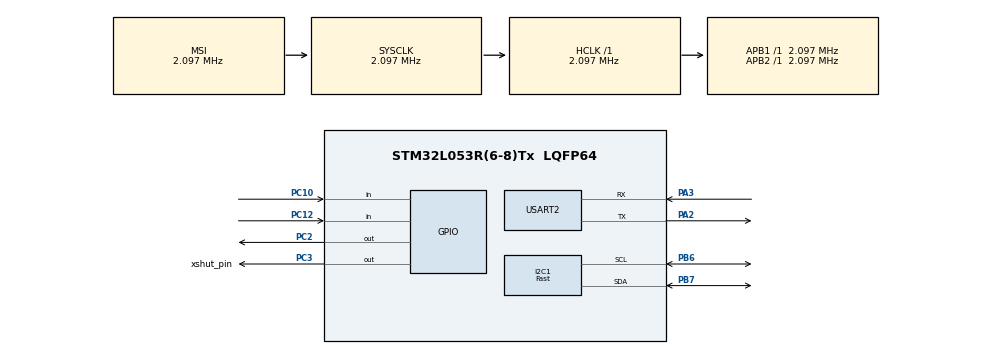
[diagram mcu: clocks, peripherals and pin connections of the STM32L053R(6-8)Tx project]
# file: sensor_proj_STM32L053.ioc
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I2C1.I2C_Speed_Mode=I2C_Fast
I2C1.Timing=0x00000000
Mcu.Family=STM32L0
Mcu.Name=STM32L053R(6-8)Tx
Mcu.Package=LQFP64
PA13.Mode=Serial_Wire
PA13.Signal=SYS_SWDIO
PA14.Mode=Serial_Wire
PA14.Signal=SYS_SWCLK
PA2.Mode=Asynchronous
PA2.Signal=USART2_TX
PA3.Mode=Asynchronous
PA3.Signal=USART2_RX
PB6.Mode=I2C
PB6.Signal=I2C1_SCL
PB7.Mode=I2C
PB7.Signal=I2C1_SDA
PC10.Signal=GPIO_Input
PC12.Signal=GPIO_Input
PC2.Signal=GPIO_Output
PC3.GPIO_Label=xshut_pin
PC3.Signal=GPIO_Output
ProjectManager.HeapSize=0x200
ProjectManager.StackSize=0x400
ProjectManager.TargetToolchain=MDK-ARM V5
RCC.AHBFreq_Value=2097000
RCC.APB1Freq_Value=2097000
RCC.APB1TimFreq_Value=2097000
RCC.APB2Freq_Value=2097000
RCC.APB2TimFreq_Value=2097000
RCC.HSE_VALUE=8000000
RCC.HSI16_VALUE=16000000
RCC.HSI48_VALUE=48000000
RCC.HSI_VALUE=16000000
RCC.LSE_VALUE=32768
RCC.MSI_VALUE=2097000
RCC.SYSCLKFreq_VALUE=2097000
RCC.VCOOutputFreq_Value=48000000
USART2.VirtualMode-Asynchronous=VM_ASYNC
board=custom

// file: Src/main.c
/* USER CODE BEGIN Header */
/**
  ******************************************************************************
  * @file           : main.c
  * @brief          : Main program body
  ******************************************************************************
  ** This notice applies to any and all portions of this file
  * that are not between comment pairs USER CODE BEGIN and
  * USER CODE END. Other portions of this file, whether
  * inserted by the user or by software development tools
  * are owned by their respective copyright owners.
  *
  * COPYRIGHT(c) 2019 STMicroelectronics
  *
  * Redistribution and use in source and binary forms, with or without modification,
  * are permitted provided that the following conditions are met:
  *   1. Redistributions of source code must retain the above copyright notice,
  *      this list of conditions and the following disclaimer.
  *   2. Redistributions in binary form must reproduce the above copyright notice,
  *      this list of conditions and the following disclaimer in the documentation
  *      and/or other materials provided with the distribution.
  *   3. Neither the name of STMicroelectronics nor the names of its contributors
  *      may be used to endorse or promote products derived from this software
  *      without specific prior written permission.
  *
  * THIS SOFTWARE IS PROVIDED BY THE COPYRIGHT HOLDERS AND CONTRIBUTORS "AS IS"
  * AND ANY EXPRESS OR IMPLIED WARRANTIES, INCLUDING, BUT NOT LIMITED TO, THE
  * IMPLIED WARRANTIES OF MERCHANTABILITY AND FITNESS FOR A PARTICULAR PURPOSE ARE
  * DISCLAIMED. IN NO EVENT SHALL THE COPYRIGHT HOLDER OR CONTRIBUTORS BE LIABLE
  * FOR ANY DIRECT, INDIRECT, INCIDENTAL, SPECIAL, EXEMPLARY, OR CONSEQUENTIAL
  * DAMAGES (INCLUDING, BUT NOT LIMITED TO, PROCUREMENT OF SUBSTITUTE GOODS OR
  * SERVICES; LOSS OF USE, DATA, OR PROFITS; OR BUSINESS INTERRUPTION) HOWEVER
  * CAUSED AND ON ANY THEORY OF LIABILITY, WHETHER IN CONTRACT, STRICT LIABILITY,
  * OR TORT (INCLUDING NEGLIGENCE OR OTHERWISE) ARISING IN ANY WAY OUT OF THE USE
  * OF THIS SOFTWARE, EVEN IF ADVISED OF THE POSSIBILITY OF SUCH DAMAGE.
  *
  ******************************************************************************
  */
/* USER CODE END Header */

#include "main.h"

/* USER CODE BEGIN Includes */
//#include "vl53l0x_api.h"
#include "VL53L0x_Driver.h"
/* USER CODE END Includes */

I2C_HandleTypeDef hi2c1;

UART_HandleTypeDef huart2;

/* USER CODE BEGIN PV */

	VL53L0X_Dev_t MyDevice; //make a new instnce of your Vl53l0x sensor.
	VL53L0X_Dev_t MyDevice2; //make a new instnce of your Vl53l0x sensor.

/* USER CODE END PV */

void SystemClock_Config(void);
static void MX_GPIO_Init(void);
static void MX_I2C1_Init(void);
static void MX_USART2_UART_Init(void);

/* USER CODE BEGIN 0 */
	//you must make one of these with a unique name like MyDevice1 , MyDevice2 etc...any name you want

/* USER CODE END 0 */

int main(void)
{

  /* MCU Configuration--------------------------------------------------------*/

  /* Reset of all peripherals, Initializes the Flash interface and the Systick. */
  HAL_Init();

  /* Configure the system clock */
  SystemClock_Config();

  /* Initialize all configured peripherals */
  MX_GPIO_Init();
  MX_I2C1_Init();
  MX_USART2_UART_Init();
  /* USER CODE BEGIN 2 */
uint8_t buff[10];
  //-------------------------------------------------------------------------------------
  //-------------------------------------------------------------------------------------
  //-------------------------------------------------------------------------------------
	sprintf((char *)buff, "UART init..\n");
    HAL_UART_Transmit(&huart2, buff, strlen((char *)buff), 0xFFFF);
	HAL_GPIO_WritePin(GPIOC, GPIO_PIN_2, GPIO_PIN_RESET);
	HAL_GPIO_WritePin(GPIOC, GPIO_PIN_3, GPIO_PIN_RESET);

	MyDevice.comms_speed_khz 	= 400; // the speed you setup i2c to operate at
	MyDevice.comms_type 		= I2C;  //I2C or SPI
	MyDevice.I2cDevAddr 		= 0x54; //0x52 is defualt address, if using mutliple sensors give it a unique address
	MyDevice.I2cHandle 			= &hi2c1; //the handle for your i2c , define by CubeMx hal at the top of main.c
	MyDevice.power_pin 			= GPIO_PIN_3; //tell it what pin you are using as the Xshut pin
	MyDevice.power_pin_port 	= GPIOC; //port for the Xshut pin
	MyDevice.ranging_mode 		= HIGH_SPEED; //20ms
	MyDevice.interrupt_type		= INTERRUPT_NONE;
	MyDevice.interrupt_low_val  = 80;
	MyDevice.interrupt_high_val  = 200;
	MyDevice.interrupt_polarity = INTERRUPT_POLARITY_HIGH;

	VL53L0x_init(&MyDevice); // initialize your instance of the the sensor

//
//  	MyDevice2.comms_speed_khz 	= 400; // the speed you setup i2c to operate at
//	MyDevice2.comms_type 		= I2C;  //I2C or SPI
//	MyDevice2.I2cDevAddr 		= 0x58; //0x52 is defualt address, if using mutliple sensors give it a unique address
//	MyDevice2.I2cHandle 			= &hi2c1; //the handle for your i2c , define by CubeMx hal at the top of main.c
//	MyDevice2.power_pin 			= GPIO_PIN_2; //tell it what pin you are using as the Xshut pin
//	MyDevice2.power_pin_port 	= GPIOC; //port for the Xshut pin
//	MyDevice2.ranging_mode 		= HIGH_SPEED; //20ms
//	MyDevice2.interrupt_type	= INTERRUPT_WINDOW;
//	MyDevice2.interrupt_low_val  = 80;
//	MyDevice2.interrupt_high_val  = 200;
//	MyDevice2.interrupt_polarity = INTERRUPT_POLARITY_HIGH;
//
//	VL53L0x_init(&MyDevice2); // initialize your instance of the the sensor

  //change address

  //-------------------------------------------------------------------------------------
  //-------------------------------------------------------------------------------------
  //-------------------------------------------------------------------------------------

  /* USER CODE END 2 */

  /* Infinite loop */
  /* USER CODE BEGIN WHILE */

  while (1)
  {

		sprintf((char *)buff, "%d mm : %.2f amb : %.2f ref\n",  get_distance_mm(&MyDevice),get_ambient(&MyDevice2), get_reflectance(&MyDevice));
		HAL_UART_Transmit(&huart2, buff, strlen((char *)buff), 0xFFFF);
		/*if((GPIOC->IDR)&(1<<10)) //MyDevice1 interrupt pin
		{

			sprintf((char *)buff, "Int Device 1 : %d\n",  get_distance_mm(&MyDevice));
			HAL_UART_Transmit(&huart2, buff, strlen((char *)buff), 0xFFFF);
			HAL_Delay(2000);

			clear_interrupt(&MyDevice);

		}
		if((GPIOC->IDR)&(1<<12)) //MyDevice1 interrupt pin
		{

			sprintf((char *)buff, "Int Device 2 : %d\n",  get_distance_mm(&MyDevice2));
			HAL_UART_Transmit(&huart2, buff, strlen((char *)buff), 0xFFFF);
			HAL_Delay(2000);

			clear_interrupt(&MyDevice2);

		}
		*/

    /* USER CODE END WHILE */

  }
}

void SystemClock_Config(void)
{
  RCC_OscInitTypeDef RCC_OscInitStruct = {0};
  RCC_ClkInitTypeDef RCC_ClkInitStruct = {0};
  RCC_PeriphCLKInitTypeDef PeriphClkInit = {0};

  /**Configure the main internal regulator output voltage
  */
  __HAL_PWR_VOLTAGESCALING_CONFIG(PWR_REGULATOR_VOLTAGE_SCALE1);
  /**Initializes the CPU, AHB and APB busses clocks
  */
  RCC_OscInitStruct.OscillatorType = RCC_OSCILLATORTYPE_MSI;
  RCC_OscInitStruct.MSIState = RCC_MSI_ON;
  RCC_OscInitStruct.MSICalibrationValue = 0;
  RCC_OscInitStruct.MSIClockRange = RCC_MSIRANGE_5;
  RCC_OscInitStruct.PLL.PLLState = RCC_PLL_NONE;
  if (HAL_RCC_OscConfig(&RCC_OscInitStruct) != HAL_OK)
  {
    Error_Handler();
  }
  /**Initializes the CPU, AHB and APB busses clocks
  */
  RCC_ClkInitStruct.ClockType = RCC_CLOCKTYPE_HCLK|RCC_CLOCKTYPE_SYSCLK
                              |RCC_CLOCKTYPE_PCLK1|RCC_CLOCKTYPE_PCLK2;
  RCC_ClkInitStruct.SYSCLKSource = RCC_SYSCLKSOURCE_MSI;
  RCC_ClkInitStruct.AHBCLKDivider = RCC_SYSCLK_DIV1;
  RCC_ClkInitStruct.APB1CLKDivider = RCC_HCLK_DIV1;
  RCC_ClkInitStruct.APB2CLKDivider = RCC_HCLK_DIV1;

  if (HAL_RCC_ClockConfig(&RCC_ClkInitStruct, FLASH_LATENCY_0) != HAL_OK)
  {
    Error_Handler();
  }
  PeriphClkInit.PeriphClockSelection = RCC_PERIPHCLK_USART2|RCC_PERIPHCLK_I2C1;
  PeriphClkInit.Usart2ClockSelection = RCC_USART2CLKSOURCE_PCLK1;
  PeriphClkInit.I2c1ClockSelection = RCC_I2C1CLKSOURCE_PCLK1;
  if (HAL_RCCEx_PeriphCLKConfig(&PeriphClkInit) != HAL_OK)
  {
    Error_Handler();
  }
}

static void MX_I2C1_Init(void)
{

  hi2c1.Instance = I2C1;
  hi2c1.Init.Timing = 0x00000000;
  hi2c1.Init.OwnAddress1 = 0;
  hi2c1.Init.AddressingMode = I2C_ADDRESSINGMODE_7BIT;
  hi2c1.Init.DualAddressMode = I2C_DUALADDRESS_DISABLE;
  hi2c1.Init.OwnAddress2 = 0;
  hi2c1.Init.OwnAddress2Masks = I2C_OA2_NOMASK;
  hi2c1.Init.GeneralCallMode = I2C_GENERALCALL_DISABLE;
  hi2c1.Init.NoStretchMode = I2C_NOSTRETCH_DISABLE;
  if (HAL_I2C_Init(&hi2c1) != HAL_OK)
  {
    Error_Handler();
  }
  /**Configure Analogue filter
  */
  if (HAL_I2CEx_ConfigAnalogFilter(&hi2c1, I2C_ANALOGFILTER_ENABLE) != HAL_OK)
  {
    Error_Handler();
  }
  /**Configure Digital filter
  */
  if (HAL_I2CEx_ConfigDigitalFilter(&hi2c1, 0) != HAL_OK)
  {
    Error_Handler();
  }

}

static void MX_USART2_UART_Init(void)
{

  huart2.Instance = USART2;
  huart2.Init.BaudRate = 115200;
  huart2.Init.WordLength = UART_WORDLENGTH_8B;
  huart2.Init.StopBits = UART_STOPBITS_1;
  huart2.Init.Parity = UART_PARITY_NONE;
  huart2.Init.Mode = UART_MODE_TX_RX;
  huart2.Init.HwFlowCtl = UART_HWCONTROL_NONE;
  huart2.Init.OverSampling = UART_OVERSAMPLING_16;
  huart2.Init.OneBitSampling = UART_ONE_BIT_SAMPLE_DISABLE;
  huart2.AdvancedInit.AdvFeatureInit = UART_ADVFEATURE_NO_INIT;
  if (HAL_UART_Init(&huart2) != HAL_OK)
  {
    Error_Handler();
  }

}

static void MX_GPIO_Init(void)
{
  GPIO_InitTypeDef GPIO_InitStruct = {0};

  /* GPIO Ports Clock Enable */
  __HAL_RCC_GPIOC_CLK_ENABLE();
  __HAL_RCC_GPIOA_CLK_ENABLE();
  __HAL_RCC_GPIOB_CLK_ENABLE();

  /*Configure GPIO pin Output Level */
  HAL_GPIO_WritePin(GPIOC, GPIO_PIN_2|xshut_pin_Pin, GPIO_PIN_RESET);

  /*Configure GPIO pins : PC2 xshut_pin_Pin */
  GPIO_InitStruct.Pin = GPIO_PIN_2|xshut_pin_Pin;
  GPIO_InitStruct.Mode = GPIO_MODE_OUTPUT_PP;
  GPIO_InitStruct.Pull = GPIO_NOPULL;
  GPIO_InitStruct.Speed = GPIO_SPEED_FREQ_LOW;
  HAL_GPIO_Init(GPIOC, &GPIO_InitStruct);

  /*Configure GPIO pins : PC10 PC12 */
  GPIO_InitStruct.Pin = GPIO_PIN_10|GPIO_PIN_12;
  GPIO_InitStruct.Mode = GPIO_MODE_INPUT;
  GPIO_InitStruct.Pull = GPIO_NOPULL;
  HAL_GPIO_Init(GPIOC, &GPIO_InitStruct);

}

/* USER CODE BEGIN 4 */
/*
void init_VL53L0x(void)
{
  HAL_GPIO_WritePin(xshut_pin_GPIO_Port, xshut_pin_Pin, GPIO_PIN_SET);

  //init comms
  pMyDevice->I2cDevAddr = VL53L0X_I2C_ADDR; // default
  pMyDevice->comms_type = I2C;
  pMyDevice->comms_speed_khz = 400;
  pMyDevice->I2cHandle = &hi2c1;

  // these init functions must be called in this exact order pg7 of user manual
  VL53L0X_WaitDeviceBooted(&MyDevice);
  VL53L0X_DataInit(&MyDevice);
  VL53L0X_StaticInit(&MyDevice);
  VL53L0X_PerformRefSpadManagement(pMyDevice, &refSpadCount, &isApertureSpads);

  VL53L0X_SetMeasurementTimingBudgetMicroSeconds(&MyDevice, 50000);
  VL53L0X_SetInterMeasurementPeriodMilliSeconds(&MyDevice, 500);
  VL53L0X_StartMeasurement( &MyDevice );
  VL53L0X_GetRangingMeasurementData( &MyDevice, &RangingData );
  //sprintf( (char*)buff, "Device ready...\n");
  //HAL_UART_Transmit( &huart2, buff, strlen( (char*)buff ), 0xFFFF );
}

void VL53L0x_power_off(void)
{

	HAL_GPIO_WritePin(xshut_pin_GPIO_Port, xshut_pin_Pin, GPIO_PIN_RESET);

}
void VL53L0x_power_on(void)
{
	//must call init function again when powering on.
	 HAL_GPIO_WritePin(xshut_pin_GPIO_Port, xshut_pin_Pin, GPIO_PIN_SET);
	VL53L0X_SetPowerMode(&MyDevice,VL53L0X_POWERMODE_IDLE_LEVEL2);
	  VL53L0X_StaticInit(&MyDevice);
       VL53L0X_PerformRefSpadManagement(pMyDevice, &refSpadCount, &isApertureSpads);

  VL53L0X_SetMeasurementTimingBudgetMicroSeconds(&MyDevice, 50000);
  VL53L0X_SetInterMeasurementPeriodMilliSeconds(&MyDevice, 500);

}
uint16_t get_distance_mm(void)
{
  // VL53L0X_StartMeasurement( &MyDevice );
  //	VL53L0X_GetRangingMeasurementData( &MyDevice, &RangingData );

  VL53L0X_WaitDeviceReadyForNewMeasurement(&MyDevice, 500);

  VL53L0X_PerformSingleMeasurement(&MyDevice);

  VL53L0X_GetRangingMeasurementData(&MyDevice, &RangingData);
//  VL53L0X_StopMeasurement(&MyDevice);
  return  RangingData.RangeMilliMeter;
}*/
/* USER CODE END 4 */

void Error_Handler(void)
{
}

/************************ (C) COPYRIGHT STMicroelectronics *****END OF FILE****/
